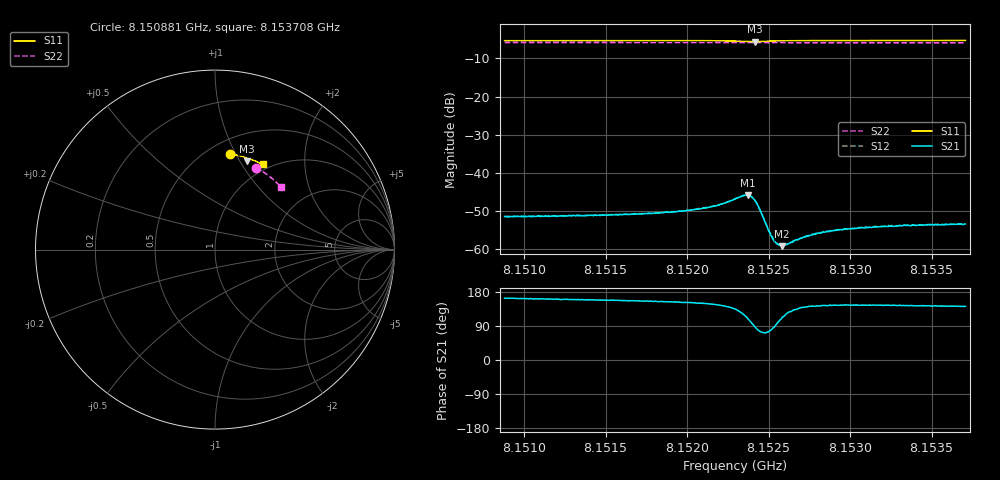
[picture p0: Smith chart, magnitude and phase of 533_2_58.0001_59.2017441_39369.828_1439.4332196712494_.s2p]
#  HZ  S  RI  R  50.00
! Rohde & Schwarz Vector Network Analyzer
! Rohde-Schwarz,ZNB20-2Port,1311601062101988,3.16
! Created: UTC 3/21/2024, 1:14:11 AM
! freq[Hz]  re:S11  im:S11  re:S21  im:S21  re:S12  im:S12  re:S22  im:S22
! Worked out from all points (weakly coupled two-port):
!   401 points, 8.150881 GHz to 8.153708 GHz, reference 50 ohm
!   highest |S21| = -45.76 dB at 8.152372 GHz (marker M1); lowest = -59.1 dB at 8.152584 GHz (marker M2)
!   lowest |S11| = -5.6 dB at 8.152414 GHz (marker M3), VSWR 3.19, Z = 39.6 + j53.5 ohm
!   |S11| at or under -10 dB: nowhere
!   |S22| runs from -5.9 to -5.8 dB; largest |S21 - S12| = 0.00013
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8.150881e9  0.0828 0.533  -0.00258 0.000791  -0.00257 0.000829  0.2275 0.4569
8.1513545e9  0.1158 0.5274  -0.00259 0.000954  -0.00261 0.00104  0.2541 0.442
8.1518279e9  0.1487 0.5196  -0.00269 0.00131  -0.00268 0.00135  0.2794 0.4257
8.1519693e9  0.1588 0.5166  -0.0028 0.00147  -0.00281 0.00151  0.287 0.4204
8.1521247e9  0.1705 0.5123  -0.00299 0.00185  -0.00302 0.0019  0.2949 0.4145
8.1522237e9  0.1785 0.5081  -0.00319 0.0024  -0.00317 0.00247  0.3 0.4104
8.1522943e9  0.1839 0.5026  -0.00322 0.00325  -0.00316 0.00336  0.3036 0.4077
8.1523438e9  0.1857 0.4962  -0.0026 0.00429  -0.00256 0.00437  0.3058 0.4057
8.1523721e9  0.1838 0.4922  -0.00174 0.00485  -0.00171 0.00487  0.3069 0.4044
8.1523933e9  0.1808 0.4906  -0.000818 0.00489  -0.000738 0.00491  0.3078 0.4035
8.1524145e9  0.1774 0.4913  0.00011 0.00444  0.000193 0.00446  0.3087 0.4028
8.1524427e9  0.1751 0.4952  0.000795 0.00336  0.000834 0.00337  0.3102 0.4021
8.1524993e9  0.1785 0.502  0.000475 0.00172  0.000509 0.00175  0.3131 0.4
8.1525275e9  0.1818 0.5035  0.00013 0.00135  0.000126 0.0014  0.3145 0.3989
8.1525417e9  0.1833 0.5039  -2.65e-05 0.00125  -1.33e-05 0.00127  0.3153 0.3985
8.1525558e9  0.1848 0.5041  -0.000186 0.00116  -0.00015 0.00118  0.3161 0.3977
8.1525841e9  0.1877 0.5042  -0.000429 0.00102  -0.000411 0.00103  0.3174 0.3966
8.1527678e9  0.2035 0.5014  -0.00123 0.000947  -0.00124 0.001  0.3265 0.3891
8.1528526e9  0.2096 0.4993  -0.00138 0.00101  -0.0014 0.00102  0.3305 0.3855
8.1529798e9  0.2185 0.4959  -0.0015 0.00105  -0.00152 0.00108  0.3364 0.3801
8.1532412e9  0.236 0.4886  -0.00162 0.00118  -0.00164 0.00118  0.3486 0.3684
8.1537076e9  0.2653 0.4743  -0.00168 0.00135  -0.00168 0.00135  0.3688 0.3471
